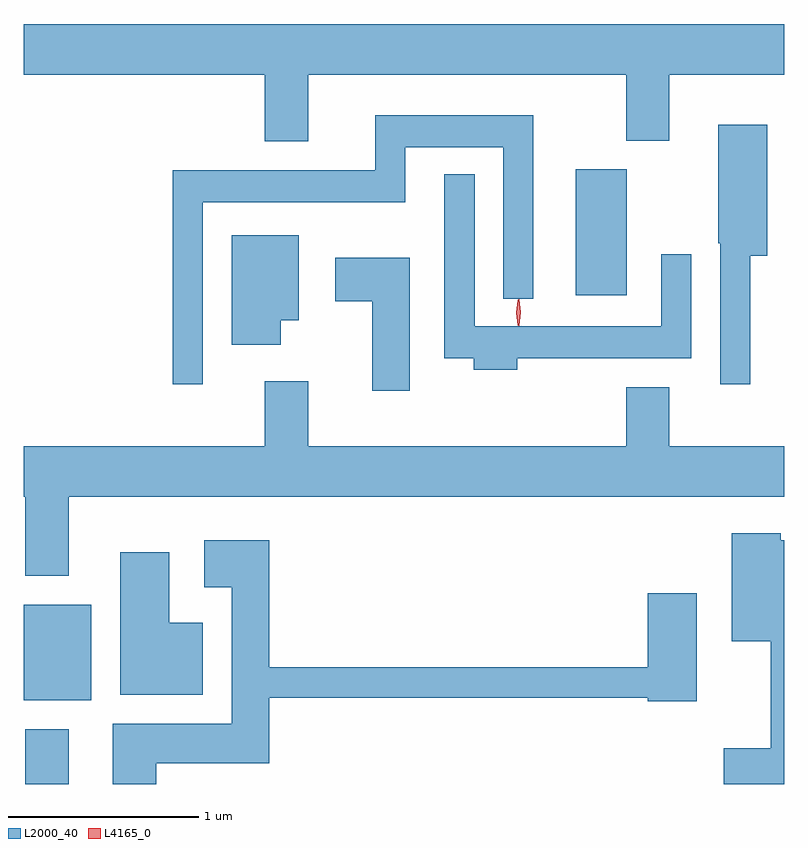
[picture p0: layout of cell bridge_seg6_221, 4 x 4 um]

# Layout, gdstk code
import gdstk
lib = gdstk.Library(unit=1e-6, precision=1e-09)
def R(c, l, rs):  # rectangles x0, y0, x1, y1
    for r in rs: c.add(gdstk.rectangle(r[:2], r[2:], *l))
def P(c, l, *ps):  # polygons
    for p in ps: c.add(gdstk.Polygon(p, *l))
L2000_40 = (2000, 40)
L4165_0 = (4165, 0)

bridge_seg6_221 = lib.new_cell('bridge_seg6_221')
R(bridge_seg6_221, L2000_40, [(1124.411,1546.306,1124.639,1546.594), (1124.403,1546.746,1124.759,1547.249), (1127.306,1548.876,1127.574,1549.539)])
P(bridge_seg6_221, L2000_40, [(1125.899,1550.036),(1127.571,1550.036),(1127.571,1549.691),(1127.799,1549.691),(1127.799,1550.036),(1128.403,1550.036),(1128.403,1550.304),(1124.403,1550.304),(1124.403,1550.036),(1125.671,1550.036),(1125.671,1549.686),(1125.899,1549.686)],
  [(1125.344,1549.366),(1126.409,1549.366),(1126.409,1549.656),(1126.926,1549.656),(1126.926,1548.858),(1127.084,1548.858),(1127.084,1549.824),(1126.251,1549.824),(1126.251,1549.534),(1125.186,1549.534),(1125.186,1548.408),(1125.344,1548.408)],
  [(1128.224,1549.086),(1128.314,1549.086),(1128.314,1549.774),(1128.056,1549.774),(1128.056,1549.15),(1128.066,1549.15),(1128.066,1548.408),(1128.224,1548.408)],
  [(1126.999,1548.546),(1127.914,1548.546),(1127.914,1549.093),(1127.756,1549.093),(1127.756,1548.714),(1126.774,1548.714),(1126.774,1549.513),(1126.616,1549.513),(1126.616,1548.546),(1126.771,1548.546),(1126.771,1548.486),(1126.999,1548.486)],
  [(1125.754,1548.746),(1125.849,1548.746),(1125.849,1549.194),(1125.496,1549.194),(1125.496,1548.616),(1125.754,1548.616)],
  [(1126.434,1549.074),(1126.041,1549.074),(1126.041,1548.846),(1126.236,1548.846),(1126.236,1548.376),(1126.434,1548.376)],
  [(1124.639,1547.816),(1128.403,1547.816),(1128.403,1548.084),(1127.799,1548.084),(1127.799,1548.394),(1127.571,1548.394),(1127.571,1548.084),(1125.899,1548.084),(1125.899,1548.424),(1125.671,1548.424),(1125.671,1548.084),(1124.403,1548.084),(1124.403,1547.816),(1124.411,1547.816),(1124.411,1547.401),(1124.639,1547.401)],
  [(1128.403,1547.589),(1128.384,1547.589),(1128.384,1547.624),(1128.126,1547.624),(1128.126,1547.056),(1128.331,1547.056),(1128.331,1546.494),(1128.086,1546.494),(1128.086,1546.306),(1128.403,1546.306)],
  [(1125.099,1546.416),(1125.694,1546.416),(1125.694,1546.761),(1127.686,1546.761),(1127.686,1546.741),(1127.944,1546.741),(1127.944,1547.309),(1127.686,1547.309),(1127.686,1546.919),(1125.694,1546.919),(1125.694,1547.589),(1125.351,1547.589),(1125.351,1547.341),(1125.496,1547.341),(1125.496,1546.624),(1124.871,1546.624),(1124.871,1546.306),(1125.099,1546.306)],
  [(1125.344,1547.154),(1125.169,1547.154),(1125.169,1547.524),(1124.911,1547.524),(1124.911,1546.776),(1125.344,1546.776)])
P(bridge_seg6_221, L4165_0, [(1127.002,1548.719),(1127.002,1548.72),(1126.993,1548.786),(1127.002,1548.852),(1127.003,1548.853),(1127.003,1548.852),(1127.012,1548.786),(1127.003,1548.72)],
  [(1127.007,1548.717),(1126.998,1548.787),(1127.007,1548.856),(1127.008,1548.856),(1127.008,1548.856),(1127.018,1548.787),(1127.008,1548.717),(1127.008,1548.717)])

lib.write_gds('bridge_seg6_221.gds')
